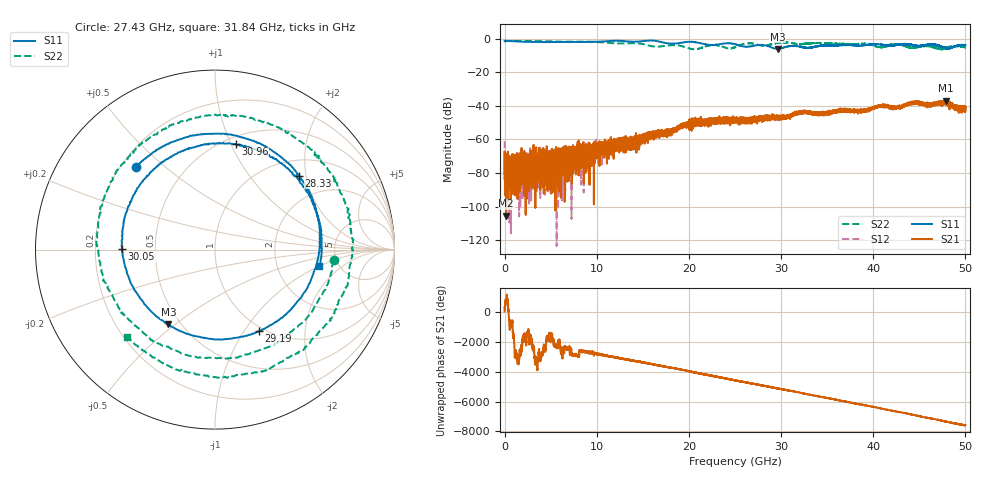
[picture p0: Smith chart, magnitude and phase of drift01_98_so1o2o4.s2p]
!Created with skrf (http://scikit-rf.org).
# Hz S RI R 50.0
!freq ReS11 ImS11 ReS21 ImS21 ReS12 ImS12 ReS22 ImS22
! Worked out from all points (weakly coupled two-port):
!   10001 points, 300 kHz to 50 GHz, reference 50 ohm
!   highest |S21| = -36.99 dB at 47.89 GHz (marker M1); lowest = -105.5 dB at 175.3 MHz (marker M2)
!   lowest |S11| = -6.2 dB at 29.62 GHz (marker M3), VSWR 2.93, Z = 21.5 - j23.6 ohm
!   |S11| at or under -10 dB: nowhere
!   |S22| runs from -6.5 to -1.4 dB; largest |S21 - S12| = 0.0039
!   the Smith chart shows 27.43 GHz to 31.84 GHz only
!   S11 on the Smith chart (normalised r, x): 27.43 GHz: 0.26, +0.40; 28.33 GHz: 1.35, +1.82; 29.19 GHz: 0.94, -1.17; 30.05 GHz: 0.32, +0.00; 30.96 GHz: 0.57, +1.04; 31.84 GHz: 3.56, -0.99
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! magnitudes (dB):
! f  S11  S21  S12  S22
! 300 kHz  -1.3  -69.0  -61.1  -2.1
! 175.3 MHz  -1.4  -105.5  -76.3  -1.4
! 280.3 MHz  -1.4  -71.4  -77.6  -1.4
! 3.79 GHz  -2.0  -77.6  -80.7  -1.5
! 8.335 GHz  -2.0  -69.7  -73.8  -1.8
! 16.67 GHz  -1.6  -58.3  -57.3  -4.8
! 20.5 GHz  -2.0  -50.8  -49.7  -6.3
! 22.61 GHz  -3.8  -50.0  -48.9  -3.8
! 25 GHz  -3.3  -49.6  -50.1  -5.1
! 27.43 GHz  -3.9  -48.1  -47.7  -3.6
! 28.33 GHz  -4.1  -47.7  -47.0  -4.2
! 29.19 GHz  -5.7  -46.8  -47.1  -3.0
! 29.62 GHz  -6.2  -47.5  -46.9  -2.5
! 30.05 GHz  -5.7  -46.5  -46.8  -2.3
! 30.96 GHz  -4.5  -46.6  -46.7  -2.5
! 31.84 GHz  -4.6  -44.1  -44.7  -3.2
! 33.34 GHz  -5.2  -44.3  -44.6  -2.7
! 41.67 GHz  -4.3  -40.1  -40.9  -4.4
! 44.55 GHz  -4.4  -38.4  -37.5  -5.4
! 46.49 GHz  -3.6  -38.2  -39.7  -5.3
! 47.89 GHz  -5.6  -37.0  -37.3  -5.3
! 50 GHz  -3.9  -40.6  -42.3  -5.4
